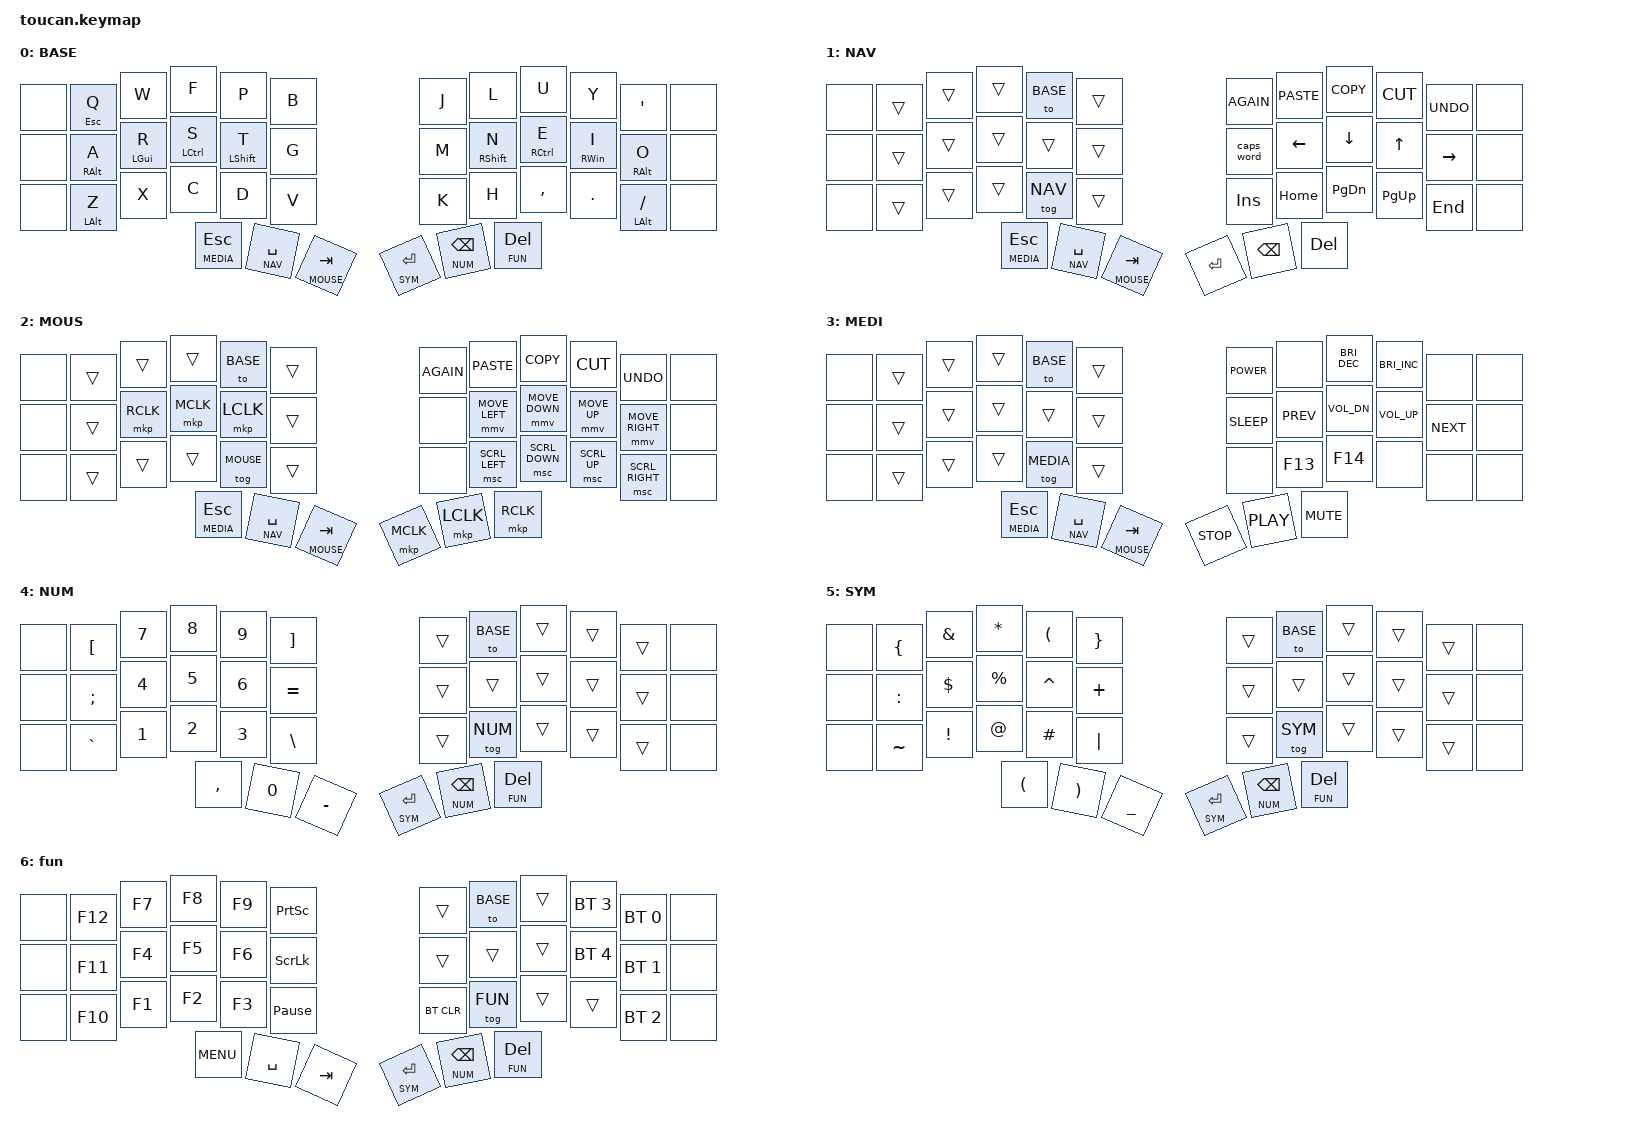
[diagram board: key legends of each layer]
#include <behaviors.dtsi>
#include <dt-bindings/zmk/keys.h>
#include <dt-bindings/zmk/bt.h>
#include <dt-bindings/zmk/outputs.h>
#include <dt-bindings/zmk/pointing.h>

// keys
#define LT0 0
#define LT1 1
#define LT2 2
#define LT3 3
#define LT4 4
#define LT5 5
#define LM0 12
#define LM1 13
#define LM2 14
#define LM3 15
#define LM4 16
#define LM5 17
#define LB0 24
#define LB1 25
#define LB2 26
#define LB3 27
#define LB4 28
#define LB5 29
#define LH0 36
#define LH1 37
#define LH2 38

#define RT0 6
#define RT1 7
#define RT2 8
#define RT3 9
#define RT4 10
#define RT5 11
#define RM0 18
#define RM1 19
#define RM2 20
#define RM3 21
#define RM4 22
#define RM5 23
#define RB0 30
#define RB1 31
#define RB2 32
#define RB3 33
#define RB4 34
#define RB5 35
#define RH0 39
#define RH1 40
#define RH2 41

#define KEYS_L LT0 LT1 LT2 LT3 LT4 LT5 LM0 LM1 LM2 LM3 LM4 LM5 LB0 LB1 LB2 LB3 LB4 LB5 
#define KEYS_R RT0 RT1 RT2 RT3 RT4 RT5 RM0 RM1 RM2 RM3 RM4 RM5 RB0 RB1 RB2 RB3 RB4 RB5 
#define THUMBS LH0 LH1 LH2 RH0 RH1 RH2
// END: keys

// Homerow Mods vars
#define HM_TAPPING_TERM 250
#define HM_TAPPING_TERM_FAST 200
#define HM_QUICK_TAP 200
#define HM_PRIOR_IDLE 70
// END: Homerow Mods vars

// Layer Tap var
#define LT_TAPPING_TERM 250
#define LT_QUICK_TAP 200
// END: Layer Tap var

#define BASE 0
#define NAV  1
#define MOUSE 2
#define MEDIA 3
#define NUM 4
#define SYM 5
#define FUN 6

/ {
    behaviors {
        hm_l: homerow_mods_left {
            compatible = "zmk,behavior-hold-tap";
            #binding-cells = <2>;
            bindings = <&kp>, <&kp>;
            flavor = "balanced";
            tapping-term-ms = <HM_TAPPING_TERM>;
            quick-tap-ms = <HM_QUICK_TAP>;                // repeat on tap-into-hold
            require-prior-idle-ms = <HM_PRIOR_IDLE >;
            hold-trigger-key-positions = <KEYS_R THUMBS>;
            hold-trigger-on-release;
        };

        hm_r: homerow_mods_right {
            compatible = "zmk,behavior-hold-tap";
            #binding-cells = <2>;
            bindings = <&kp>, <&kp>;
            flavor = "balanced";
            tapping-term-ms = <HM_TAPPING_TERM>;
            quick-tap-ms = <HM_QUICK_TAP>;                // repeat on tap-into-hold
            require-prior-idle-ms = <HM_PRIOR_IDLE >;
            hold-trigger-key-positions = <KEYS_L THUMBS>;
            hold-trigger-on-release;
        };
        
        hm_shift_l: homerow_mods_shift_left {
            compatible = "zmk,behavior-hold-tap";
            #binding-cells = <2>;
            bindings = <&kp>, <&kp>;
            flavor = "balanced";
            tapping-term-ms = <HM_TAPPING_TERM_FAST>;
            quick-tap-ms = <HM_QUICK_TAP>;                // repeat on tap-into-hold
            require-prior-idle-ms = <HM_PRIOR_IDLE >;
            hold-trigger-key-positions = <KEYS_R THUMBS>;
            hold-trigger-on-release;
        };
        
        hm_shift_r: homerow_mods_shift_right {
            compatible = "zmk,behavior-hold-tap";
            #binding-cells = <2>;
            bindings = <&kp>, <&kp>;
            flavor = "balanced";
            tapping-term-ms = <HM_TAPPING_TERM_FAST>;
            quick-tap-ms = <HM_QUICK_TAP>;                // repeat on tap-into-hold
            require-prior-idle-ms = <HM_PRIOR_IDLE >;
            hold-trigger-key-positions = <KEYS_L THUMBS>;
            hold-trigger-on-release;
        };

        lt: layer_tap {
            compatible = "zmk,behavior-hold-tap";
            #binding-cells = <2>;
            bindings = <&mo>, <&kp>;

            flavor = "hold-preferred";
            tapping-term-ms = <LT_TAPPING_TERM>;
            quick-tap-ms = <LT_QUICK_TAP>;
        };
    };
    
    combos {
        compatible = "zmk,combos";

        cb_capsword {
            bindings = <&caps_word>;
            key-positions = <16 19>;
        };
    };

    keymap {
        compatible = "zmk,keymap";

        base {
            display-name = "BASE";
            bindings = <
                &none  &hm_l ESC Q        &kp W             &kp F                  &kp P                &kp B                                          &kp J              &kp L                      &kp U                  &kp Y              &kp SINGLE_QUOTE      &none
                &none  &hm_l RIGHT_ALT A  &hm_l LEFT_GUI R  &hm_l LEFT_CONTROL S   &hm_shift_l LSHFT T  &kp G                                          &kp M              &hm_shift_r RIGHT_SHIFT N  &hm_r RIGHT_CONTROL E  &hm_r RIGHT_WIN I  &hm_r RIGHT_ALT O     &none
                &none  &hm_l LEFT_ALT Z   &kp X             &kp C                  &kp D                &kp V                                          &kp K              &kp H                      &kp COMMA              &kp DOT            &hm_r LEFT_ALT SLASH  &none
                                                                                   &lt MEDIA ESCAPE     &lt NAV SPACE  &lt MOUSE TAB    &lt SYM ENTER  &lt NUM BACKSPACE  &lt FUN DELETE 
            >;
        };

        nav {
            display-name = "NAV";
            bindings = <
                &none  &trans  &trans  &trans  &to BASE       &trans                                     &kp K_AGAIN    &kp K_PASTE     &kp K_COPY  &kp K_CUT     &kp K_UNDO       &none
                &none  &trans  &trans  &trans  &trans         &trans                                     &caps_word     &kp LEFT_ARROW  &kp DOWN    &kp UP_ARROW  &kp RIGHT_ARROW  &none
                &none  &trans  &trans  &trans  &tog NAV       &trans                                     &kp INSERT     &kp HOME        &kp PG_DN   &kp PG_UP     &kp END          &none
                                               &lt MEDIA ESC  &lt NAV SPACE  &lt MOUSE TAB    &kp ENTER  &kp BACKSPACE  &kp DELETE
            >;
        };

        mouse {
            display-name = "MOUS";
            bindings = <
                &none  &trans  &trans     &trans     &to BASE       &trans                                     &kp K_AGAIN  &kp K_PASTE     &kp K_COPY      &kp K_CUT     &kp K_UNDO       &none
                &none  &trans  &mkp RCLK  &mkp MCLK  &mkp LCLK      &trans                                     &none        &mmv MOVE_LEFT  &mmv MOVE_DOWN  &mmv MOVE_UP  &mmv MOVE_RIGHT  &none
                &none  &trans  &trans     &trans     &tog MOUSE     &trans                                     &none        &msc SCRL_LEFT  &msc SCRL_DOWN  &msc SCRL_UP  &msc SCRL_RIGHT  &none
                                                     &lt MEDIA ESC  &lt NAV SPACE  &lt MOUSE TAB    &mkp MCLK  &mkp LCLK    &mkp RCLK
            >;
        };

        media {
            display-name = "MEDI";
            bindings = <
                &none  &trans  &trans  &trans  &to BASE       &trans                                      &kp C_POWER  &none       &kp C_BRIGHTNESS_DEC  &kp C_BRIGHTNESS_INC  &none        &none
                &none  &trans  &trans  &trans  &trans         &trans                                      &kp C_SLEEP  &kp C_PREV  &kp C_VOL_DN          &kp C_VOL_UP          &kp C_NEXT   &none
                &none  &trans  &trans  &trans  &tog MEDIA     &trans                                      &none        &kp F13     &kp F14               &none                 &none        &none
                                               &lt MEDIA ESC  &lt NAV SPACE  &lt MOUSE TAB    &kp C_STOP  &kp C_PLAY   &kp K_MUTE
            >;
        };

        num {
            display-name = "NUM";
            bindings = <
                &none  &kp LEFT_BRACKET  &kp N7  &kp N8  &kp N9     &kp RIGHT_BRACKET                              &trans             &to BASE        &trans  &trans  &trans  &none
                &none  &kp SEMICOLON     &kp N4  &kp N5  &kp N6     &kp EQUAL                                      &trans             &trans          &trans  &trans  &trans  &none
                &none  &kp GRAVE         &kp N1  &kp N2  &kp N3     &kp BACKSLASH                                  &trans             &tog NUM        &trans  &trans  &trans  &none
                                                         &kp COMMA  &kp N0             &kp MINUS    &lt SYM ENTER  &lt NUM BACKSPACE  &lt FUN DELETE 
            >;
        };

        sym {
            display-name = "SYM";
            bindings = <
                &none  &kp LEFT_BRACE  &kp AMPERSAND    &kp ASTERISK  &kp LEFT_PARENTHESIS  &kp RIGHT_BRACE                                         &trans       &to BASE  &trans          &trans  &trans  &none
                &none  &kp COLON       &kp DOLLAR       &kp PERCENT   &kp CARET             &kp PLUS                                                &trans       &trans    &trans          &trans  &trans  &none
                &none  &kp TILDE       &kp EXCLAMATION  &kp AT_SIGN   &kp HASH              &kp PIPE                                                &trans       &tog SYM  &trans          &trans  &trans  &none
                                                                      &kp LEFT_PARENTHESIS  &kp RIGHT_PARENTHESIS  &kp UNDERSCORE    &lt SYM ENTER  &lt NUM BACKSPACE      &lt FUN DELETE 
            >;
        };

        fun {
            display-name = "fun";
            bindings = <
                &none  &kp F12  &kp F7  &kp F8  &kp F9      &kp PRINTSCREEN                            &trans       &to BASE   &trans          &bt BT_SEL 3  &bt BT_SEL 0  &none
                &none  &kp F11  &kp F4  &kp F5  &kp F6      &kp SCROLLLOCK                             &trans       &trans     &trans          &bt BT_SEL 4  &bt BT_SEL 1  &none
                &none  &kp F10  &kp F1  &kp F2  &kp F3      &kp PAUSE_BREAK                            &bt BT_CLR   &tog FUN   &trans          &trans        &bt BT_SEL 2  &none
                                                &kp K_MENU  &kp SPACE        &kp TAB    &lt SYM ENTER  &lt NUM BACKSPACE       &lt FUN DELETE 
            >;
        };

        extra_1 {
                status = "reserved";
        };

        extra_2 {
                status = "reserved";
        };

        extra_3 {
                status = "reserved";
        };
    };
};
